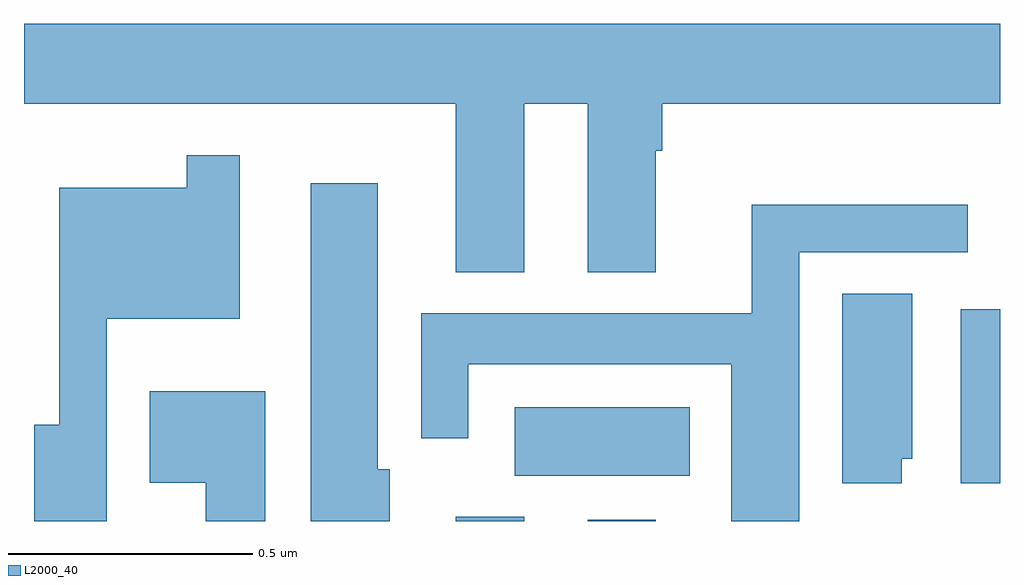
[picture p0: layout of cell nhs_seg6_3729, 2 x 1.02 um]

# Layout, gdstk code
import gdstk
lib = gdstk.Library(unit=1e-6, precision=1e-09)
def R(c, l, rs):  # rectangles x0, y0, x1, y1
    for r in rs: c.add(gdstk.rectangle(r[:2], r[2:], *l))
def P(c, l, *ps):  # polygons
    for p in ps: c.add(gdstk.Polygon(p, *l))
L2000_40 = (2000, 40)

nhs_seg6_3729 = lib.new_cell('nhs_seg6_3729')
R(nhs_seg6_3729, L2000_40, [(161.885,926.5,162.025,926.509), (162.155,926.5,162.295,926.503), (162.92,926.578,163,926.935), (162.006,926.594,162.364,926.734)])
P(nhs_seg6_3729, L2000_40, [(162.025,927.356),(162.155,927.356),(162.155,927.011),(162.295,927.011),(162.295,927.26),(162.308,927.26),(162.308,927.356),(163,927.356),(163,927.52),(161,927.52),(161,927.356),(161.885,927.356),(161.885,927.011),(162.025,927.011)],
  [(161.17,926.915),(161.442,926.915),(161.442,927.25),(161.334,927.25),(161.334,927.184),(161.072,927.184),(161.072,926.698),(161.021,926.698),(161.021,926.5),(161.17,926.5)],
  [(161.749,926.607),(161.725,926.607),(161.725,927.193),(161.588,927.193),(161.588,926.5),(161.749,926.5)],
  [(162.589,927.051),(162.934,927.051),(162.934,927.149),(162.491,927.149),(162.491,926.926),(161.814,926.926),(161.814,926.67),(161.91,926.67),(161.91,926.822),(162.449,926.822),(162.449,926.5),(162.589,926.5)],
  [(162.799,926.628),(162.82,926.628),(162.82,926.966),(162.677,926.966),(162.677,926.578),(162.799,926.578)],
  [(161.494,926.767),(161.258,926.767),(161.258,926.579),(161.372,926.579),(161.372,926.5),(161.494,926.5)])

lib.write_gds('nhs_seg6_3729.gds')
